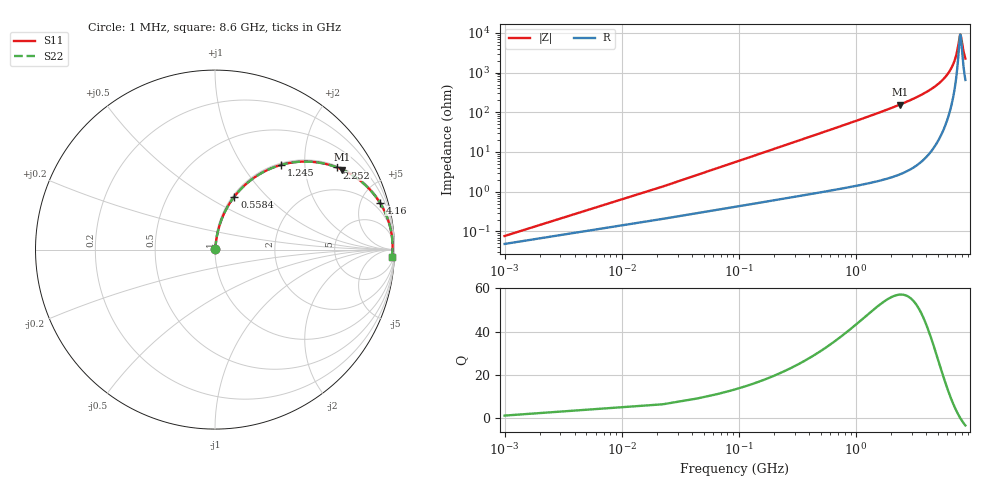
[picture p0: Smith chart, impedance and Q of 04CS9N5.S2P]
! Coilcraft 0402CS-9N5 Chip Inductor
! 22 July 2002
# MHZ S MA R 50
!Freq  MagS11  AngS11  MagS21  AngS21  MagS12  AngS12  MagS22  AngS22
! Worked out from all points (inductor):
!   403 points, 1 MHz to 8.6 GHz, reference 50 ohm
!   read as one part in series: L = 9.5 nH near 43.88 MHz
!   highest Q = 57 at 2.381 GHz (marker M1), where L = 10.5 nH
!   self-resonance near 7.792 GHz
!   S11 on the Smith chart (normalised r, x): 1 MHz: 1.00, +0.00; 558.4 MHz: 1.02, +0.67; 1.245 GHz: 1.03, +1.52; 2.252 GHz: 1.05, +2.93; 4.16 GHz: 1.17, +6.95; 8.6 GHz: 14, -43
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1  0.0007694 50.8  0.9995 -0.0  0.9995 -0.0  0.0007694 50.8
65.32  0.03898 82.6  0.9958 -2.2  0.9958 -2.2  0.03898 82.6
129.64  0.07695 82.0  0.9922 -4.4  0.9922 -4.4  0.07695 82.0
193.96  0.1146 80.5  0.9875 -6.6  0.9875 -6.6  0.1146 80.5
301.16  0.1761 77.5  0.9771 -10.1  0.9771 -10.1  0.1761 77.5
558.44  0.3149 69.9  0.9395 -18.3  0.9395 -18.3  0.3149 69.9
858.6  0.456 61.5  0.8787 -27.1  0.8787 -27.1  0.456 61.5
1244.52  0.6003 51.9  0.7873 -36.9  0.7873 -36.9  0.6003 51.9
1437.48  0.6577 47.7  0.7403 -41.1  0.7403 -41.1  0.6577 47.7
2252.2  0.8197 34.0  0.5586 -55.0  0.5586 -55.0  0.8197 34.0
2380.84  0.8365 32.2  0.5335 -56.8  0.5335 -56.8  0.8365 32.2
2873.96  0.8868 26.5  0.4465 -62.5  0.4465 -62.5  0.8868 26.5
4160.36  0.9548 15.9  0.2747 -72.6  0.2747 -72.6  0.9548 15.9
4310.44  0.9592 15.0  0.2586 -73.5  0.2586 -73.5  0.9592 15.0
5746.92  0.9838 7.5  0.1308 -79.1  0.1308 -79.1  0.9838 7.5
6604.52  0.9887 4.0  0.07104 -78.9  0.07104 -78.9  0.9887 4.0
7183.4  0.9897 2.0  0.03591 -72.3  0.03591 -72.3  0.9897 2.0
7676.52  0.9893 0.4  0.01238 -30.3  0.01238 -30.3  0.9893 0.4
7783.72  0.9891 0.0  0.01087 -2.2  0.01087 -2.2  0.9891 0.0
7890.92  0.9889 -0.3  0.01232 25.6  0.01232 25.6  0.9889 -0.3
8276.84  0.9878 -1.5  0.02825 63.6  0.02825 63.6  0.9878 -1.5
8600  0.9865 -2.4  0.04371 70.8  0.04371 70.8  0.9865 -2.4
